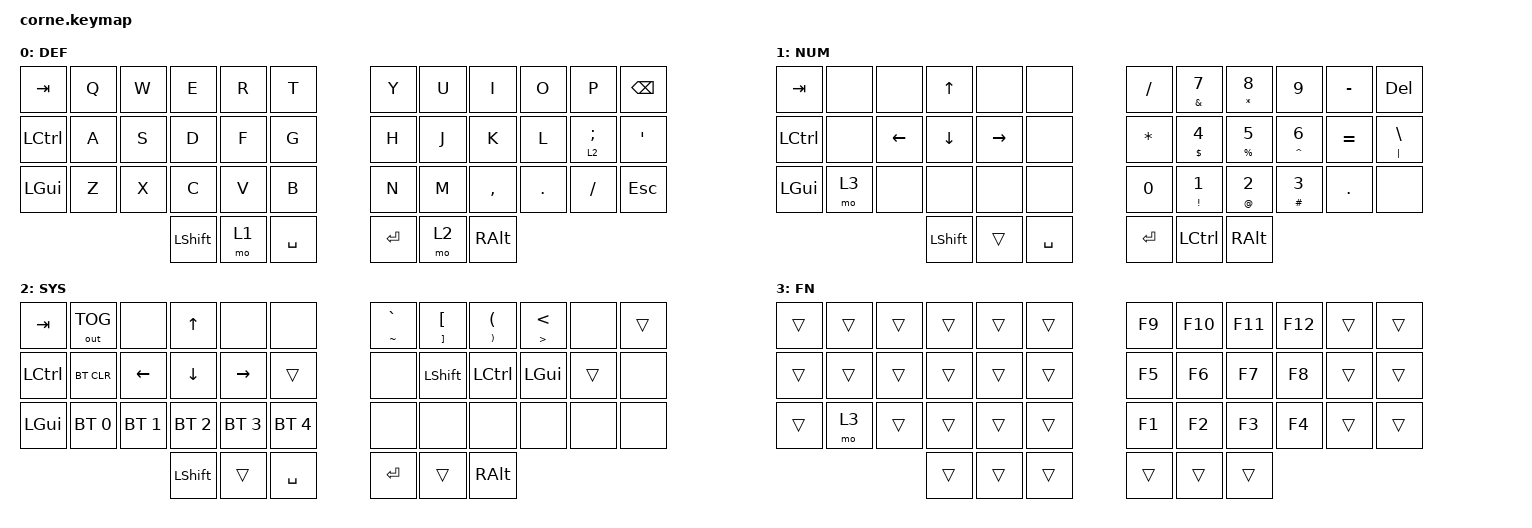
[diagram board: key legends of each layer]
/*
 * Copyright (c) 2020 The ZMK Contributors
 *
 * SPDX-License-Identifier: MIT
 */

#include <behaviors.dtsi>
#include <dt-bindings/zmk/keys.h>
#include <dt-bindings/zmk/bt.h>
#include <dt-bindings/zmk/outputs.h>
#include <dt-bindings/zmk/ext_power.h>
#include <dt-bindings/led/led.h>
#include <dt-bindings/zmk/backlight.h>
#include <dt-bindings/zmk/rgb.h>
#include <dt-bindings/zmk/reset.h>

&led_strip {
    chain-length = <27>;
};

// Custom Behaviors

/ {
    behaviors {
        hm: homerow_mods {
            compatible = "zmk,behavior-hold-tap";
            #binding-cells = <2>;
            tapping-term-ms = <600>;
            quick-tap-ms = <0>;
            flavor = "tap-preferred";
            bindings = <&kp>, <&kp>;
        };
        hm_mo: homerow_momentary_layer {
            compatible = "zmk,behavior-hold-tap";
            #binding-cells = <2>;
            tapping-term-ms = <600>;
            quick-tap-ms = <0>;
            flavor = "tap-preferred";
            bindings = <&mo>, <&kp>;
        };
    };
};

// Combos
/*
*   / {
*      combos {
*          compatible = "zmk,combos";
*  
*          combo_CMD_UP {
*              timeout-ms = <300>;
*              key-positions = <22 3>;
*              bindings = <&kp LG(UP)>;
*              layers = <0>;
*          };
*  
*          combo_CMD_RIGHT {
*              timeout-ms = <300>;
*              key-positions = <22 16>;
*              bindings = <&kp LG(RIGHT)>;
*              layers = <0>;
*          };
*  
*          combo_CMD_LEFT {
*              timeout-ms = <300>;
*              key-positions = <22 14>;
*              bindings = <&kp LG(LEFT)>;
*              layers = <0>;
*          };
*  
*          combo_CMD_DOWN {
*              timeout-ms = <300>;
*              key-positions = <22 15>;
*              bindings = <&kp LG(DOWN)>;
*              layers = <0>;
*          };
*      };
*  };
*/
// Keymap

/ {
    keymap {
        compatible = "zmk,keymap";

        default_layer {
            // -----------------------------------------------------------------------------------------
            // |  TAB |  Q  |  W  |  E  |  R  |  T  |   |  Y  |  U   |  I  |  O  |  P  | BKSP |
            // | CTRL |  A  |  S  |  D  |  F  |  G  |   |  H  |  J   |  K  |  L  |  ;  |  '   |
            // | SHFT |  Z  |  X  |  C  |  V  |  B  |   |  N  |  M   |  ,  |  .  |  /  | ESC  |
            //                    | GUI | LWR | SPC |   | ENT | RSE  | ALT |

            bindings = <
&kp TAB    &kp Q  &kp W  &kp E           &kp R  &kp T        &kp Y    &kp U  &kp I      &kp O    &kp P               &kp BACKSPACE
&kp LCTRL  &kp A  &kp S  &kp D           &kp F  &kp G        &kp H    &kp J  &kp K      &kp L    &hm_mo 2 SEMICOLON  &kp SQT
&kp LGUI   &kp Z  &kp X  &kp C           &kp V  &kp B        &kp N    &kp M  &kp COMMA  &kp DOT  &kp FSLH            &kp ESC
                         &kp LEFT_SHIFT  &mo 1  &kp SPACE    &kp RET  &mo 2  &kp RALT
            >;

            display-name = "DEF";
        };

        NumPad {
            // -----------------------------------------------------------------------------------------
            // |  TAB |  1  |  2  |  3  |  4  |  5  |   |  6  |  7  |  8  |  9  |  0  | BKSP |
            // | BTCLR| BT1 | BT2 | BT3 | BT4 | BT5 |   | LFT | DWN |  UP | RGT |     |      |
            // | SHFT |     |     |     |     |     |   |     |     |     |     |     |      |
            //                    | GUI |     | SPC |   | ENT |     | ALT |

            bindings = <
&kp TAB    &none  &none     &kp UP_ARROW  &none      &none        &kp SLASH     &mt AMPERSAND NUMBER_7    &mt ASTERISK NUMBER_8  &kp N9              &kp MINUS   &kp DELETE
&kp LCTRL  &none  &kp LEFT  &kp DOWN      &kp RIGHT  &none        &kp ASTERISK  &mt DOLLAR NUMBER_4       &mt PERCENT NUMBER_5   &mt CARET NUMBER_6  &kp EQUAL   &mt PIPE BACKSLASH
&kp LGUI   &mo 3  &none     &none         &none      &none        &kp N0        &mt EXCLAMATION NUMBER_1  &mt AT_SIGN NUMBER_2   &mt HASH NUMBER_3   &kp PERIOD  &none
                            &kp LSHFT     &trans     &kp SPACE    &kp RET       &kp LCTRL                 &kp RALT
            >;

            display-name = "NUM";
        };

        System {
            // -----------------------------------------------------------------------------------------
            // |  TAB |  !  |  @  |  #  |  $  |  %  |   |  ^  |  &  |  *  |  (  |  )  | BKSP |
            // | CTRL |     |     |     |     |     |   |  -  |  =  |  [  |  ]  |  \  |  `   |
            // | SHFT |     |     |     |     |     |   |  _  |  +  |  {  |  }  | "|" |  ~   |
            //                    | GUI |     | SPC |   | ENT |     | ALT |

            bindings = <
&kp TAB    &out OUT_TOG  &none         &kp UP_ARROW    &none         &none           &mt TILDE GRAVE  &mt RIGHT_BRACKET LEFT_BRACKET  &mt RIGHT_PARENTHESIS LEFT_PARENTHESIS  &mt GREATER_THAN LESS_THAN  &none   &trans
&kp LCTRL  &bt BT_CLR    &kp LEFT      &kp DOWN        &kp RIGHT     &trans          &none            &kp LEFT_SHIFT                  &kp LCTRL                               &kp LGUI                    &trans  &none
&kp LGUI   &bt BT_SEL 0  &bt BT_SEL 1  &bt BT_SEL 2    &bt BT_SEL 3  &bt BT_SEL 4    &none            &none                           &none                                   &none                       &none   &none
                                       &kp LEFT_SHIFT  &trans        &kp SPACE       &kp RET          &trans                          &kp RALT
            >;

            display-name = "SYS";
        };

        Function {
            bindings = <
&trans  &trans  &trans  &trans  &trans  &trans    &kp F9  &kp F10  &kp F11  &kp F12  &trans  &trans
&trans  &trans  &trans  &trans  &trans  &trans    &kp F5  &kp F6   &kp F7   &kp F8   &trans  &trans
&trans  &mo 3   &trans  &trans  &trans  &trans    &kp F1  &kp F2   &kp F3   &kp F4   &trans  &trans
                        &trans  &trans  &trans    &trans  &trans   &trans
            >;

            display-name = "FN";
        };
    };
};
